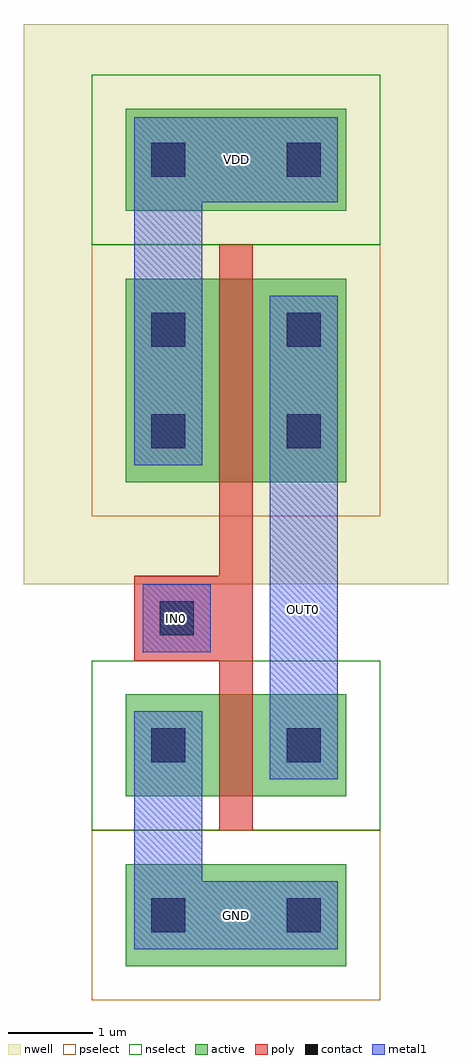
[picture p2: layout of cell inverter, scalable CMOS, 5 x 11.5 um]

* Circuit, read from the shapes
.subckt inverter GND IN0 OUT0 VDD
M1 OUT0 IN0 GND GND nfet w=1.2u l=0.4u
M2 OUT0 IN0 VDD VDD pfet w=2.4u l=0.4u
.ends

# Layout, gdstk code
import gdstk
lib = gdstk.Library(unit=1e-6, precision=1e-09)
def R(c, l, rs):  # rectangles x0, y0, x1, y1
    for r in rs: c.add(gdstk.rectangle(r[:2], r[2:], *l))
contact = (25, 0)
nwell = (42, 0)
active = (43, 0)
pselect = (44, 0)
nselect = (45, 0)
poly = (46, 0)
metal1 = (49, 0)

inverter = lib.new_cell('inverter')
R(inverter, contact, [(-1.4,-4.9,-1,-4.5), (0.2,-4.9,0.6,-4.5), (-1.4,-2.9,-1,-2.5), (0.2,-2.9,0.6,-2.5), (-1.3,-1.4,-0.9,-1), (-1.4,0.8,-1,1.2), (0.2,0.8,0.6,1.2), (-1.4,2,-1,2.4), (0.2,2,0.6,2.4), (-1.4,4,-1,4.4), (0.2,4,0.6,4.4)])
R(inverter, nwell, [(-2.9,-0.8,2.1,5.8)])
R(inverter, active, [(-1.7,-5.3,0.9,-4.1), (-1.7,-3.3,0.9,-2.1), (-1.7,0.4,0.9,2.8), (-1.7,3.6,0.9,4.8)])
R(inverter, pselect, [(-2.1,-5.7,1.3,-3.7), (-2.1,0,1.3,3.2)])
R(inverter, nselect, [(-2.1,-3.7,1.3,-1.7), (-2.1,3.2,1.3,5.2)])
R(inverter, poly, [(-0.6,-3.7,-0.2,-1.7), (-0.6,-1.8,-0.2,0), (-1.6,-1.7,-0.6,-0.7), (-0.6,0,-0.2,3.2)])
R(inverter, metal1, [(-1.6,-5.1,-0.8,-2.3), (-1.6,-5.1,0.8,-4.3), (0,-3.1,0.8,2.6), (-1.5,-1.6,-0.7,-0.8), (-1.6,0.6,-0.8,4.6), (-1.6,3.7,0.8,4.7)])
inverter.add(gdstk.Label('VDD', (-0.4,4.2), layer=75, texttype=0))
inverter.add(gdstk.Label('GND', (-0.4,-4.7), layer=75, texttype=0))
inverter.add(gdstk.Label('OUT0', (0.4,-1.1), layer=75, texttype=0))
inverter.add(gdstk.Label('IN0', (-1.1,-1.2), layer=75, texttype=0))

lib.write_gds('inverter.gds')
